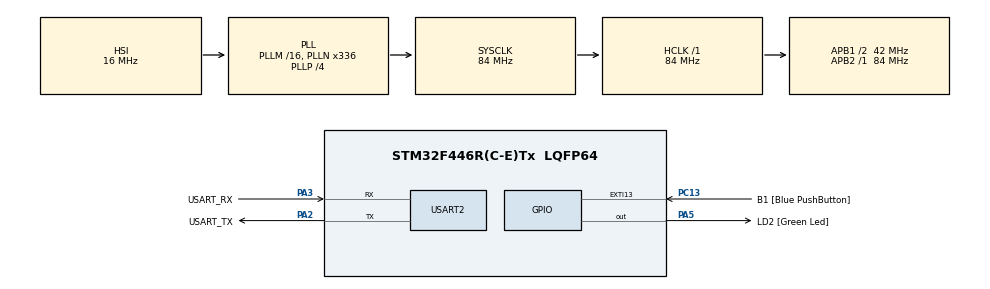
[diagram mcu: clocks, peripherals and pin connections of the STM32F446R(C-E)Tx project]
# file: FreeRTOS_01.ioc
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FREERTOS.Tasks01=defaultTask,0,128,StartDefaultTask,Default,NULL,Dynamic,NULL,NULL;myTask02,-2,128,StartTask02,Default,NULL,Dynamic,NULL,NULL;myTask03,2,128,StartTask03,Default,NULL,Dynamic,NULL,NULL
FREERTOS.configTOTAL_HEAP_SIZE=20000
FREERTOS.configUSE_NEWLIB_REENTRANT=1
Mcu.Family=STM32F4
Mcu.Name=STM32F446R(C-E)Tx
Mcu.Package=LQFP64
NVIC.EXTI15_10_IRQn=true\:5\:0\:false\:false\:true\:true\:true\:true\:true
NVIC.PriorityGroup=NVIC_PRIORITYGROUP_4
NVIC.TIM6_DAC_IRQn=true\:15\:0\:false\:false\:true\:false\:false\:true\:true
NVIC.TimeBase=TIM6_DAC_IRQn
NVIC.TimeBaseIP=TIM6
PA13.GPIO_Label=TMS
PA13.Mode=Serial_Wire
PA13.Signal=SYS_JTMS-SWDIO
PA14.GPIO_Label=TCK
PA14.Mode=Serial_Wire
PA14.Signal=SYS_JTCK-SWCLK
PA2.GPIO_Label=USART_TX
PA2.Mode=Asynchronous
PA2.Signal=USART2_TX
PA3.GPIO_Label=USART_RX
PA3.Mode=Asynchronous
PA3.Signal=USART2_RX
PA5.GPIO_Label=LD2 [Green Led]
PA5.Signal=GPIO_Output
PB3.GPIO_Label=SWO
PB3.Signal=SYS_JTDO-SWO
PC13.GPIO_Label=B1 [Blue PushButton]
PC13.GPIO_ModeDefaultEXTI=GPIO_MODE_IT_FALLING
PC13.Signal=GPXTI13
PC14-OSC32_IN.Mode=LSE-External-Oscillator
PC14-OSC32_IN.Signal=RCC_OSC32_IN
PC15-OSC32_OUT.Mode=LSE-External-Oscillator
PC15-OSC32_OUT.Signal=RCC_OSC32_OUT
PH0-OSC_IN.Mode=HSE-External-Oscillator
PH0-OSC_IN.Signal=RCC_OSC_IN
PH1-OSC_OUT.Mode=HSE-External-Oscillator
PH1-OSC_OUT.Signal=RCC_OSC_OUT
ProjectManager.HeapSize=0x200
ProjectManager.StackSize=0x400
ProjectManager.TargetToolchain=STM32CubeIDE
RCC.48MHZClocksFreq_Value=84000000
RCC.AHBFreq_Value=84000000
RCC.APB1CLKDivider=RCC_HCLK_DIV2
RCC.APB1Freq_Value=42000000
RCC.APB1TimFreq_Value=84000000
RCC.APB2Freq_Value=84000000
RCC.APB2TimFreq_Value=84000000
RCC.CortexFreq_Value=84000000
RCC.FLatency-AdvancedSettings=FLASH_LATENCY_2
RCC.HCLKFreq_Value=84000000
RCC.HSE_VALUE=8000000
RCC.HSI_VALUE=16000000
RCC.PLLN=336
RCC.PLLP=RCC_PLLP_DIV4
RCC.SYSCLKFreq_VALUE=84000000
RCC.SYSCLKSource=RCC_SYSCLKSOURCE_PLLCLK
RCC.USBFreq_Value=168000000
RCC.VCOOutputFreq_Value=336000000
USART2.VirtualMode=VM_ASYNC
VP_FREERTOS_VS_CMSIS_V1.Mode=CMSIS_V1
VP_SYS_VS_tim6.Mode=TIM6
board=NUCLEO-F446RE

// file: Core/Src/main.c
/* USER CODE BEGIN Header */
/**
  ******************************************************************************
  * @file           : main.c
  * @brief          : Main program body
  ******************************************************************************
  * @attention
  *
  * Copyright (c) 2024 STMicroelectronics.
  * All rights reserved.
  *
  * This software is licensed under terms that can be found in the LICENSE file
  * in the root directory of this software component.
  * If no LICENSE file comes with this software, it is provided AS-IS.
  *
  ******************************************************************************
  */
/* USER CODE END Header */
#include "main.h"
#include "cmsis_os.h"

/* USER CODE BEGIN Includes */
#include <string.h>
/* USER CODE END Includes */

UART_HandleTypeDef huart2;

osThreadId defaultTaskHandle;
osThreadId myTask02Handle;
osThreadId myTask03Handle;

void SystemClock_Config(void);
static void MX_GPIO_Init(void);
static void MX_USART2_UART_Init(void);
void StartDefaultTask(void const * argument);
void StartTask02(void const * argument);
void StartTask03(void const * argument);

int main(void)
{

  /* MCU Configuration--------------------------------------------------------*/

  /* Reset of all peripherals, Initializes the Flash interface and the Systick. */
  HAL_Init();

  /* Configure the system clock */
  SystemClock_Config();

  /* Initialize all configured peripherals */
  MX_GPIO_Init();
  MX_USART2_UART_Init();

  /* Create the thread(s) */
  /* definition and creation of defaultTask */
  osThreadDef(defaultTask, StartDefaultTask, osPriorityNormal, 0, 128);
  defaultTaskHandle = osThreadCreate(osThread(defaultTask), NULL);

  /* definition and creation of myTask02 */
  osThreadDef(myTask02, StartTask02, osPriorityLow, 0, 128);
  myTask02Handle = osThreadCreate(osThread(myTask02), NULL);

  /* definition and creation of myTask03 */
  osThreadDef(myTask03, StartTask03, osPriorityHigh, 0, 128);
  myTask03Handle = osThreadCreate(osThread(myTask03), NULL);

  /* Start scheduler */
  osKernelStart();
  /* We should never get here as control is now taken by the scheduler */
  /* Infinite loop */
  while (1)
  {

  }
}

void SystemClock_Config(void)
{
  RCC_OscInitTypeDef RCC_OscInitStruct = {0};
  RCC_ClkInitTypeDef RCC_ClkInitStruct = {0};

  /** Configure the main internal regulator output voltage
  */
  __HAL_RCC_PWR_CLK_ENABLE();
  __HAL_PWR_VOLTAGESCALING_CONFIG(PWR_REGULATOR_VOLTAGE_SCALE3);

  /** Initializes the RCC Oscillators according to the specified parameters
  * in the RCC_OscInitTypeDef structure.
  */
  RCC_OscInitStruct.OscillatorType = RCC_OSCILLATORTYPE_HSI;
  RCC_OscInitStruct.HSIState = RCC_HSI_ON;
  RCC_OscInitStruct.HSICalibrationValue = RCC_HSICALIBRATION_DEFAULT;
  RCC_OscInitStruct.PLL.PLLState = RCC_PLL_ON;
  RCC_OscInitStruct.PLL.PLLSource = RCC_PLLSOURCE_HSI;
  RCC_OscInitStruct.PLL.PLLM = 16;
  RCC_OscInitStruct.PLL.PLLN = 336;
  RCC_OscInitStruct.PLL.PLLP = RCC_PLLP_DIV4;
  RCC_OscInitStruct.PLL.PLLQ = 2;
  RCC_OscInitStruct.PLL.PLLR = 2;
  if (HAL_RCC_OscConfig(&RCC_OscInitStruct) != HAL_OK)
  {
    Error_Handler();
  }

  /** Initializes the CPU, AHB and APB buses clocks
  */
  RCC_ClkInitStruct.ClockType = RCC_CLOCKTYPE_HCLK|RCC_CLOCKTYPE_SYSCLK
                              |RCC_CLOCKTYPE_PCLK1|RCC_CLOCKTYPE_PCLK2;
  RCC_ClkInitStruct.SYSCLKSource = RCC_SYSCLKSOURCE_PLLCLK;
  RCC_ClkInitStruct.AHBCLKDivider = RCC_SYSCLK_DIV1;
  RCC_ClkInitStruct.APB1CLKDivider = RCC_HCLK_DIV2;
  RCC_ClkInitStruct.APB2CLKDivider = RCC_HCLK_DIV1;

  if (HAL_RCC_ClockConfig(&RCC_ClkInitStruct, FLASH_LATENCY_2) != HAL_OK)
  {
    Error_Handler();
  }
}

static void MX_USART2_UART_Init(void)
{

  huart2.Instance = USART2;
  huart2.Init.BaudRate = 115200;
  huart2.Init.WordLength = UART_WORDLENGTH_8B;
  huart2.Init.StopBits = UART_STOPBITS_1;
  huart2.Init.Parity = UART_PARITY_NONE;
  huart2.Init.Mode = UART_MODE_TX_RX;
  huart2.Init.HwFlowCtl = UART_HWCONTROL_NONE;
  huart2.Init.OverSampling = UART_OVERSAMPLING_16;
  if (HAL_UART_Init(&huart2) != HAL_OK)
  {
    Error_Handler();
  }

}

static void MX_GPIO_Init(void)
{
  GPIO_InitTypeDef GPIO_InitStruct = {0};

  /* GPIO Ports Clock Enable */
  __HAL_RCC_GPIOC_CLK_ENABLE();
  __HAL_RCC_GPIOH_CLK_ENABLE();
  __HAL_RCC_GPIOA_CLK_ENABLE();
  __HAL_RCC_GPIOB_CLK_ENABLE();

  /*Configure GPIO pin Output Level */
  HAL_GPIO_WritePin(LD2_GPIO_Port, LD2_Pin, GPIO_PIN_RESET);

  /*Configure GPIO pin : B1_Pin */
  GPIO_InitStruct.Pin = B1_Pin;
  GPIO_InitStruct.Mode = GPIO_MODE_IT_FALLING;
  GPIO_InitStruct.Pull = GPIO_NOPULL;
  HAL_GPIO_Init(B1_GPIO_Port, &GPIO_InitStruct);

  /*Configure GPIO pin : LD2_Pin */
  GPIO_InitStruct.Pin = LD2_Pin;
  GPIO_InitStruct.Mode = GPIO_MODE_OUTPUT_PP;
  GPIO_InitStruct.Pull = GPIO_NOPULL;
  GPIO_InitStruct.Speed = GPIO_SPEED_FREQ_LOW;
  HAL_GPIO_Init(LD2_GPIO_Port, &GPIO_InitStruct);

  /* EXTI interrupt init*/
  HAL_NVIC_SetPriority(EXTI15_10_IRQn, 5, 0);
  HAL_NVIC_EnableIRQ(EXTI15_10_IRQn);

}

void StartDefaultTask(void const * argument)
{
  /* USER CODE BEGIN 5 */
	char *str = "Enter Task 1 and execute\r\n";
	char *str1 = "exit From Task 1 and Enter task2\r\n";
  /* Infinite loop */
  for(;;)
  {
	  HAL_UART_Transmit(&huart2,(uint8_t *) str, strlen(str), HAL_MAX_DELAY);
	  osDelay(100);
	  HAL_GPIO_TogglePin(LD2_GPIO_Port, LD2_Pin);
	  HAL_UART_Transmit(&huart2,(uint8_t *) str1, strlen(str1), HAL_MAX_DELAY);
	  osDelay(100);
  }
  /* USER CODE END 5 */
}

void StartTask02(void const * argument)
{
  /* USER CODE BEGIN StartTask02 */
	char *str = "Enter Task 2 and execute\r\n";
	char *str1 = "exit From Task 2 and Enter task3\r\n";
  /* Infinite loop */
  for(;;)
  {
	  HAL_UART_Transmit(&huart2,(uint8_t *) str, strlen(str), HAL_MAX_DELAY);
	  osDelay(100);
	  HAL_GPIO_TogglePin(LD2_GPIO_Port, LD2_Pin);
	  HAL_UART_Transmit(&huart2,(uint8_t *) str1, strlen(str1), HAL_MAX_DELAY);
	  osDelay(100);
  }
  /* USER CODE END StartTask02 */
}

void StartTask03(void const * argument)
{
  /* USER CODE BEGIN StartTask03 */
	char *str = "Enter Task 3 and execute\r\n";
	char *str1 = "exit From Task 3 and Enter task1\r\n";
  /* Infinite loop */
  for(;;)
  {
	  HAL_UART_Transmit(&huart2,(uint8_t *) str, strlen(str), HAL_MAX_DELAY);
	  osDelay(100);
	  HAL_GPIO_TogglePin(LD2_GPIO_Port, LD2_Pin);
	  HAL_UART_Transmit(&huart2,(uint8_t *) str1, strlen(str1), HAL_MAX_DELAY);
	  osDelay(100);
  }
  /* USER CODE END StartTask03 */
}

void HAL_TIM_PeriodElapsedCallback(TIM_HandleTypeDef *htim)
{
  if (htim->Instance == TIM6) {
    HAL_IncTick();
  }
}

void Error_Handler(void)
{
  __disable_irq();
  while (1)
  {
  }
}
